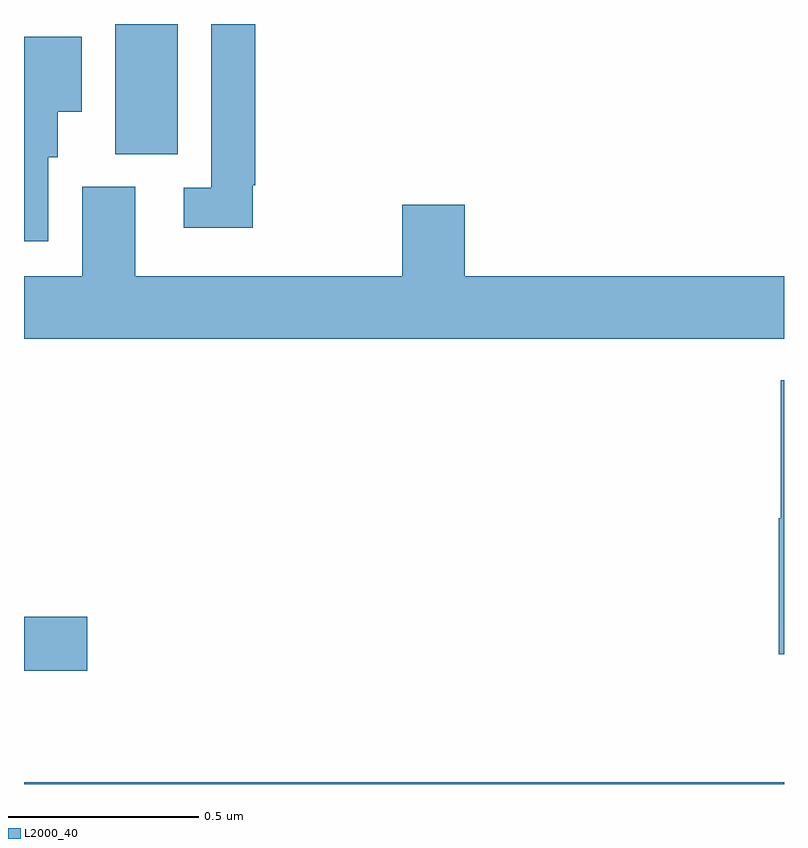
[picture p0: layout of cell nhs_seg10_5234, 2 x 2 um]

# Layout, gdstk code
import gdstk
lib = gdstk.Library(unit=1e-6, precision=1e-09)
def R(c, l, rs):  # rectangles x0, y0, x1, y1
    for r in rs: c.add(gdstk.rectangle(r[:2], r[2:], *l))
def P(c, l, *ps):  # polygons
    for p in ps: c.add(gdstk.Polygon(p, *l))
L2000_40 = (2000, 40)

nhs_seg10_5234 = lib.new_cell('nhs_seg10_5234')
R(nhs_seg10_5234, L2000_40, [(176,1276.5,178,1276.504), (176,1276.798,176.167,1276.94), (176.24,1278.157,176.404,1278.5)])
P(nhs_seg10_5234, L2000_40, [(176.602,1278.076),(176.609,1278.076),(176.609,1278.5),(176.493,1278.5),(176.493,1278.069),(176.421,1278.069),(176.421,1277.964),(176.602,1277.964)],
  [(176.064,1278.15),(176.089,1278.15),(176.089,1278.269),(176.152,1278.269),(176.152,1278.466),(176,1278.466),(176,1277.928),(176.064,1277.928)],
  [(178,1277.836),(177.16,1277.836),(177.16,1278.025),(176.996,1278.025),(176.996,1277.836),(176.293,1277.836),(176.293,1278.072),(176.153,1278.072),(176.153,1277.836),(176,1277.836),(176,1277.672),(178,1277.672)],
  [(178,1277.562),(177.991,1277.562),(177.991,1277.199),(177.986,1277.199),(177.986,1276.841),(178,1276.841)])

lib.write_gds('nhs_seg10_5234.gds')
